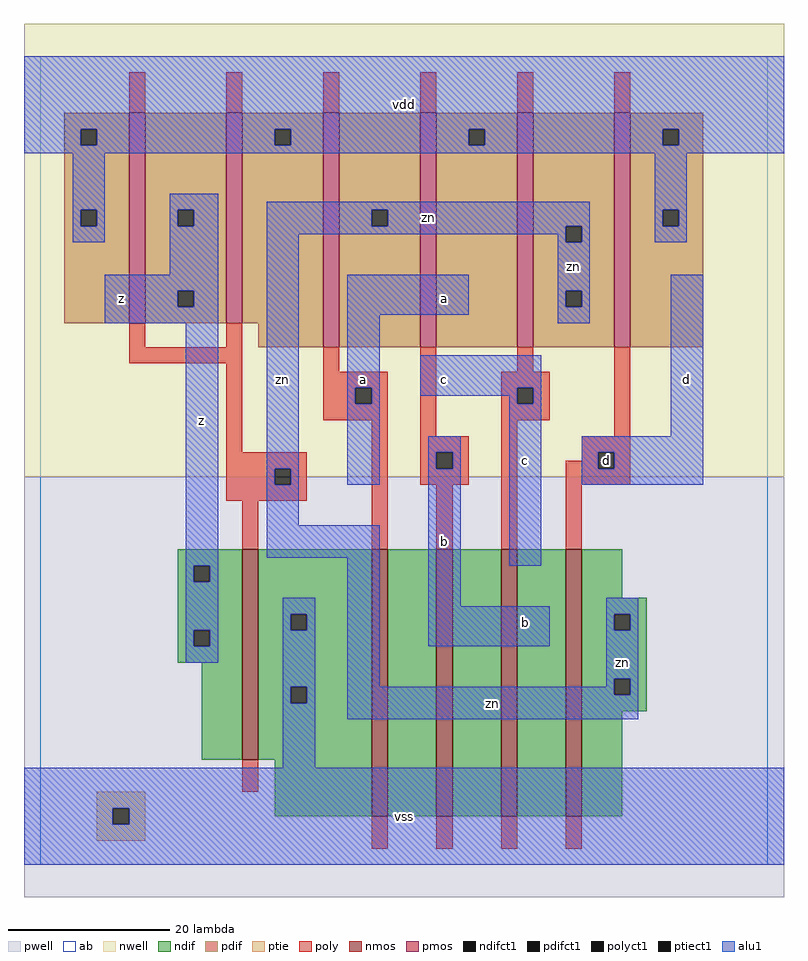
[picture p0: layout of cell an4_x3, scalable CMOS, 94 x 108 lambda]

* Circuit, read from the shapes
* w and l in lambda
.subckt an4_x3 a b c d vdd vss z zn
M1 vss zn z vss nfet w=26 l=2
M2 n1 a vss vss nfet w=33 l=2
M3 n2 b n1 vss nfet w=33 l=2
M4 n3 c n2 vss nfet w=33 l=2
M5 zn d n3 vss nfet w=33 l=2
M6 z zn vdd n4 pfet w=26 l=2 m=2
M7 zn a vdd n4 pfet w=29 l=2
M8 vdd b zn n4 pfet w=29 l=2
M9 zn c vdd n4 pfet w=29 l=2
M10 vdd d zn n4 pfet w=29 l=2
.ends

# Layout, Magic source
magic
tech scmos
<< ab >>
rect 0 0 90 100
<< nwell >>
rect -2 48 92 104
<< pwell >>
rect -2 -4 92 48
<< poly >>
rect 11 93 13 98
rect 23 93 25 98
rect 35 93 37 98
rect 47 93 49 98
rect 59 93 61 98
rect 71 93 73 98
rect 11 64 13 67
rect 23 64 25 67
rect 11 62 25 64
rect 23 51 25 62
rect 35 61 37 64
rect 35 59 43 61
rect 35 57 39 59
rect 41 57 43 59
rect 35 55 43 57
rect 23 49 33 51
rect 23 47 29 49
rect 31 47 33 49
rect 23 45 33 47
rect 25 39 27 45
rect 41 39 43 55
rect 47 53 49 64
rect 59 61 61 64
rect 57 59 63 61
rect 57 57 59 59
rect 61 57 63 59
rect 57 55 63 57
rect 47 51 53 53
rect 47 49 49 51
rect 51 49 53 51
rect 47 47 53 49
rect 49 39 51 47
rect 57 39 59 55
rect 71 53 73 64
rect 67 51 73 53
rect 67 50 69 51
rect 65 49 69 50
rect 71 49 73 51
rect 65 47 73 49
rect 65 39 67 47
rect 25 9 27 13
rect 41 2 43 6
rect 49 2 51 6
rect 57 2 59 6
rect 65 2 67 6
<< ndif >>
rect 17 37 25 39
rect 17 35 19 37
rect 21 35 25 37
rect 17 29 25 35
rect 17 27 19 29
rect 21 27 25 29
rect 17 25 25 27
rect 20 13 25 25
rect 27 31 41 39
rect 27 29 31 31
rect 33 29 41 31
rect 27 22 41 29
rect 27 20 31 22
rect 33 20 41 22
rect 27 13 41 20
rect 29 6 41 13
rect 43 6 49 39
rect 51 6 57 39
rect 59 6 65 39
rect 67 33 72 39
rect 67 31 75 33
rect 67 29 71 31
rect 73 29 75 31
rect 67 23 75 29
rect 67 21 71 23
rect 73 21 75 23
rect 67 19 75 21
rect 67 6 72 19
<< pdif >>
rect 3 91 11 93
rect 3 89 5 91
rect 7 89 11 91
rect 3 81 11 89
rect 3 79 5 81
rect 7 79 11 81
rect 3 67 11 79
rect 13 81 23 93
rect 13 79 17 81
rect 19 79 23 81
rect 13 71 23 79
rect 13 69 17 71
rect 19 69 23 71
rect 13 67 23 69
rect 25 91 35 93
rect 25 89 29 91
rect 31 89 35 91
rect 25 67 35 89
rect 27 64 35 67
rect 37 81 47 93
rect 37 79 41 81
rect 43 79 47 81
rect 37 64 47 79
rect 49 91 59 93
rect 49 89 53 91
rect 55 89 59 91
rect 49 64 59 89
rect 61 79 71 93
rect 61 77 65 79
rect 67 77 71 79
rect 61 71 71 77
rect 61 69 65 71
rect 67 69 71 71
rect 61 64 71 69
rect 73 91 82 93
rect 73 89 77 91
rect 79 89 82 91
rect 73 81 82 89
rect 73 79 77 81
rect 79 79 82 81
rect 73 64 82 79
<< alu1 >>
rect -2 91 92 100
rect -2 89 5 91
rect 7 89 29 91
rect 31 89 53 91
rect 55 89 77 91
rect 79 89 92 91
rect -2 88 92 89
rect 4 81 8 88
rect 4 79 5 81
rect 7 79 8 81
rect 4 77 8 79
rect 16 81 22 83
rect 16 79 17 81
rect 19 79 22 81
rect 16 73 22 79
rect 8 71 22 73
rect 8 69 17 71
rect 19 69 22 71
rect 8 67 22 69
rect 18 37 22 67
rect 28 81 68 82
rect 28 79 41 81
rect 43 79 68 81
rect 28 78 65 79
rect 28 49 32 78
rect 64 77 65 78
rect 67 77 68 79
rect 76 81 80 88
rect 76 79 77 81
rect 79 79 80 81
rect 76 77 80 79
rect 28 47 29 49
rect 31 47 32 49
rect 38 68 53 73
rect 64 71 68 77
rect 64 69 65 71
rect 67 69 68 71
rect 38 59 42 68
rect 64 67 68 69
rect 38 57 39 59
rect 41 57 42 59
rect 47 59 62 63
rect 47 58 59 59
rect 38 47 42 57
rect 58 57 59 58
rect 61 57 62 59
rect 48 51 52 53
rect 48 49 49 51
rect 51 49 52 51
rect 28 42 32 47
rect 28 38 42 42
rect 18 35 19 37
rect 21 35 22 37
rect 18 29 22 35
rect 18 27 19 29
rect 21 27 22 29
rect 18 25 22 27
rect 30 31 34 33
rect 30 29 31 31
rect 33 29 34 31
rect 30 22 34 29
rect 30 20 31 22
rect 33 20 34 22
rect 30 12 34 20
rect 38 22 42 38
rect 48 32 52 49
rect 58 37 62 57
rect 78 53 82 73
rect 67 51 82 53
rect 67 49 69 51
rect 71 49 82 51
rect 67 47 82 49
rect 48 27 63 32
rect 70 31 74 33
rect 70 29 71 31
rect 73 29 74 31
rect 70 23 74 29
rect 70 22 71 23
rect 38 21 71 22
rect 73 21 74 23
rect 38 18 74 21
rect -2 7 92 12
rect -2 5 9 7
rect 11 5 92 7
rect -2 0 92 5
<< ptie >>
rect 7 7 13 9
rect 7 5 9 7
rect 11 5 13 7
rect 7 3 13 5
<< nmos >>
rect 25 13 27 39
rect 41 6 43 39
rect 49 6 51 39
rect 57 6 59 39
rect 65 6 67 39
<< pmos >>
rect 11 67 13 93
rect 23 67 25 93
rect 35 64 37 93
rect 47 64 49 93
rect 59 64 61 93
rect 71 64 73 93
<< polyct1 >>
rect 39 57 41 59
rect 29 47 31 49
rect 59 57 61 59
rect 49 49 51 51
rect 69 49 71 51
<< ndifct1 >>
rect 19 35 21 37
rect 19 27 21 29
rect 31 29 33 31
rect 31 20 33 22
rect 71 29 73 31
rect 71 21 73 23
<< ptiect1 >>
rect 9 5 11 7
<< pdifct1 >>
rect 5 89 7 91
rect 5 79 7 81
rect 17 79 19 81
rect 17 69 19 71
rect 29 89 31 91
rect 41 79 43 81
rect 53 89 55 91
rect 65 77 67 79
rect 65 69 67 71
rect 77 89 79 91
rect 77 79 79 81
<< labels >>
rlabel alu1 10 70 10 70 6 z
rlabel alu1 20 55 20 55 6 z
rlabel alu1 30 60 30 60 6 zn
rlabel alu1 45 6 45 6 6 vss
rlabel alu1 50 40 50 40 6 b
rlabel alu1 40 60 40 60 6 a
rlabel alu1 50 60 50 60 6 c
rlabel alu1 50 70 50 70 6 a
rlabel alu1 45 94 45 94 6 vdd
rlabel alu1 60 30 60 30 6 b
rlabel alu1 60 50 60 50 6 c
rlabel polyct1 70 50 70 50 6 d
rlabel alu1 66 74 66 74 6 zn
rlabel alu1 48 80 48 80 6 zn
rlabel alu1 72 25 72 25 6 zn
rlabel alu1 56 20 56 20 6 zn
rlabel alu1 80 60 80 60 6 d
<< end >>
